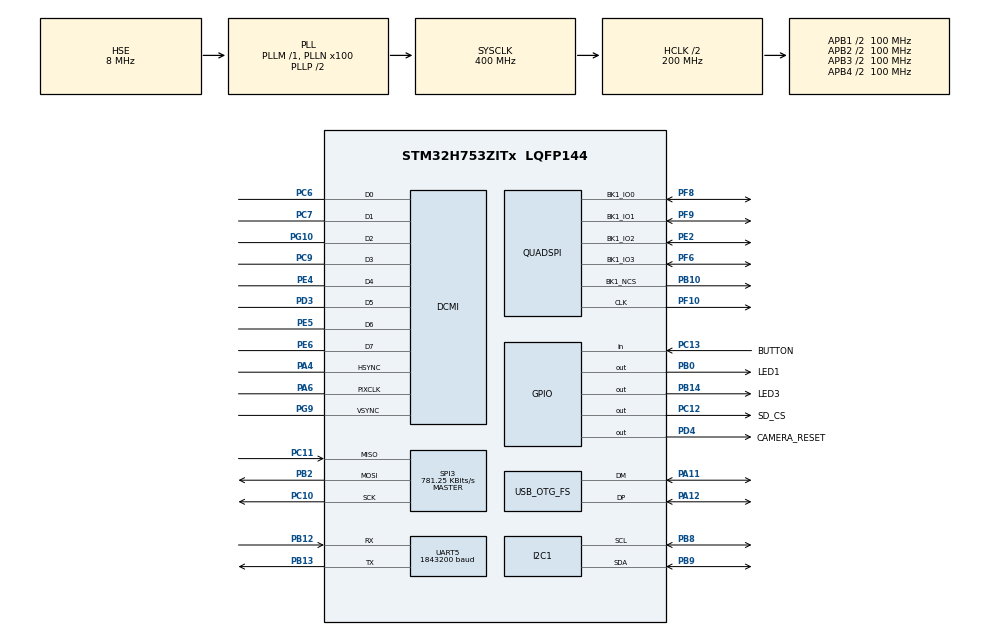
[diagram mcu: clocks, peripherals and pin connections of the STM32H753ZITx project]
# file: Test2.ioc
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CORTEX_M7.AccessPermission_Spec=MPU_REGION_FULL_ACCESS
CORTEX_M7.BaseAddress_Spec=0x90000000
CORTEX_M7.CPU_DCache=Enabled
CORTEX_M7.CPU_ICache=Enabled
CORTEX_M7.Enable_S-Cortex_Memory_Protection_Unit_Region4_Settings_S=__NULL
CORTEX_M7.Enable_Spec=__NULL
CORTEX_M7.MPU_Control=__NULL
CORTEX_M7.Size_Spec=MPU_REGION_SIZE_8MB
CORTEX_M7.SubRegionDisable_Spec=0
CORTEX_M7.default_mode_Activation=1
DCMI.HSPolarity=DCMI_HSPOLARITY_HIGH
DCMI.PCKPolarity=DCMI_PCKPOLARITY_RISING
DCMI.VSPolarity=DCMI_VSPOLARITY_HIGH
Dma.DCMI.0.Direction=DMA_PERIPH_TO_MEMORY
Dma.DCMI.0.EventEnable=DISABLE
Dma.DCMI.0.FIFOMode=DMA_FIFOMODE_ENABLE
Dma.DCMI.0.FIFOThreshold=DMA_FIFO_THRESHOLD_FULL
Dma.DCMI.0.Instance=DMA2_Stream1
Dma.DCMI.0.MemBurst=DMA_MBURST_INC4
Dma.DCMI.0.MemDataAlignment=DMA_MDATAALIGN_WORD
Dma.DCMI.0.MemInc=DMA_MINC_ENABLE
Dma.DCMI.0.Mode=DMA_CIRCULAR
Dma.DCMI.0.PeriphBurst=DMA_PBURST_SINGLE
Dma.DCMI.0.PeriphDataAlignment=DMA_PDATAALIGN_WORD
Dma.DCMI.0.PeriphInc=DMA_PINC_DISABLE
Dma.DCMI.0.Polarity=HAL_DMAMUX_REQ_GEN_RISING
Dma.DCMI.0.Priority=DMA_PRIORITY_VERY_HIGH
Dma.DCMI.0.RequestNumber=1
Dma.DCMI.0.SignalID=NONE
Dma.DCMI.0.SyncEnable=DISABLE
Dma.DCMI.0.SyncPolarity=HAL_DMAMUX_SYNC_NO_EVENT
Dma.DCMI.0.SyncRequestNumber=1
Dma.DCMI.0.SyncSignalID=NONE
Dma.MEMTOMEM.1.Direction=DMA_MEMORY_TO_MEMORY
Dma.MEMTOMEM.1.EventEnable=DISABLE
Dma.MEMTOMEM.1.FIFOMode=DMA_FIFOMODE_ENABLE
Dma.MEMTOMEM.1.FIFOThreshold=DMA_FIFO_THRESHOLD_FULL
Dma.MEMTOMEM.1.Instance=DMA1_Stream0
Dma.MEMTOMEM.1.MemBurst=DMA_MBURST_INC4
Dma.MEMTOMEM.1.MemDataAlignment=DMA_MDATAALIGN_WORD
Dma.MEMTOMEM.1.MemInc=DMA_MINC_ENABLE
Dma.MEMTOMEM.1.Mode=DMA_NORMAL
Dma.MEMTOMEM.1.PeriphBurst=DMA_PBURST_INC4
Dma.MEMTOMEM.1.PeriphDataAlignment=DMA_PDATAALIGN_WORD
Dma.MEMTOMEM.1.PeriphInc=DMA_PINC_ENABLE
Dma.MEMTOMEM.1.Polarity=HAL_DMAMUX_REQ_GEN_RISING
Dma.MEMTOMEM.1.Priority=DMA_PRIORITY_LOW
Dma.MEMTOMEM.1.RequestNumber=1
Dma.MEMTOMEM.1.SignalID=NONE
Dma.MEMTOMEM.1.SyncEnable=DISABLE
Dma.MEMTOMEM.1.SyncPolarity=HAL_DMAMUX_SYNC_NO_EVENT
Dma.MEMTOMEM.1.SyncRequestNumber=1
Dma.MEMTOMEM.1.SyncSignalID=NONE
Dma.Request0=DCMI
Dma.Request1=MEMTOMEM
FATFS._MAX_SS=512
FATFS._USE_LFN=0
FREERTOS.Tasks01=defaultTask,24,1024,StartDefaultTask,Default,NULL,Dynamic,NULL,NULL;cameraTask,32,1024,StartCameraTask,Default,NULL,Dynamic,NULL,NULL
FREERTOS.configENABLE_FPU=1
FREERTOS.configTOTAL_HEAP_SIZE=65536
FREERTOS.configUSE_NEWLIB_REENTRANT=1
I2C1.Timing=0x10C0ECFF
Mcu.Family=STM32H7
Mcu.Name=STM32H753ZITx
Mcu.Package=LQFP144
NVIC.DCMI_IRQn=true\:5\:0\:false\:false\:true\:true\:true\:true\:true
NVIC.DMA2_Stream1_IRQn=true\:5\:0\:false\:false\:true\:false\:false\:true\:true
NVIC.OTG_FS_IRQn=true\:5\:0\:false\:false\:true\:true\:false\:true\:true
NVIC.PriorityGroup=NVIC_PRIORITYGROUP_4
NVIC.TIM6_DAC_IRQn=true\:15\:0\:false\:false\:true\:false\:false\:true\:true
NVIC.TimeBase=TIM6_DAC_IRQn
NVIC.TimeBaseIP=TIM6
PA11.Mode=Device_Only
PA11.Signal=USB_OTG_FS_DM
PA12.Mode=Device_Only
PA12.Signal=USB_OTG_FS_DP
PA13\ (JTMS/SWDIO).Mode=Trace_Asynchronous_SW
PA13\ (JTMS/SWDIO).Signal=DEBUG_JTMS-SWDIO
PA14\ (JTCK/SWCLK).Mode=Trace_Asynchronous_SW
PA14\ (JTCK/SWCLK).Signal=DEBUG_JTCK-SWCLK
PA4.Mode=Slave_8_bits_External_Synchro
PA4.Signal=DCMI_HSYNC
PA6.Mode=Slave_8_bits_External_Synchro
PA6.Signal=DCMI_PIXCLK
PB0.GPIO_Label=LED1
PB0.Signal=GPIO_Output
PB10.Mode=Single Bank 1
PB10.Signal=QUADSPI_BK1_NCS
PB12.Mode=Asynchronous
PB12.Signal=UART5_RX
PB13.Mode=Asynchronous
PB13.Signal=UART5_TX
PB14.GPIO_Label=LED3
PB14.Signal=GPIO_Output
PB2.GPIO_Speed=GPIO_SPEED_FREQ_HIGH
PB2.Mode=Full_Duplex_Master
PB2.Signal=SPI3_MOSI
PB3\ (JTDO/TRACESWO).Mode=Trace_Asynchronous_SW
PB3\ (JTDO/TRACESWO).Signal=DEBUG_JTDO-SWO
PB8.Mode=I2C
PB8.Signal=I2C1_SCL
PB9.Mode=I2C
PB9.Signal=I2C1_SDA
PC10.GPIO_Speed=GPIO_SPEED_FREQ_HIGH
PC10.Mode=Full_Duplex_Master
PC10.Signal=SPI3_SCK
PC11.GPIO_PuPd=GPIO_NOPULL
PC11.GPIO_Speed=GPIO_SPEED_FREQ_HIGH
PC11.Mode=Full_Duplex_Master
PC11.Signal=SPI3_MISO
PC12.GPIO_Label=SD_CS
PC12.GPIO_Speed=GPIO_SPEED_FREQ_HIGH
PC12.PinState=GPIO_PIN_SET
PC12.Signal=GPIO_Output
PC13.GPIO_Label=BUTTON
PC13.Signal=GPIO_Input
PC14-OSC32_IN\ (OSC32_IN).Signal=RCC_OSC32_IN
PC15-OSC32_OUT\ (OSC32_OUT).Signal=RCC_OSC32_OUT
PC6.Mode=Slave_8_bits_External_Synchro
PC6.Signal=DCMI_D0
PC7.Mode=Slave_8_bits_External_Synchro
PC7.Signal=DCMI_D1
PC9.Mode=Slave_8_bits_External_Synchro
PC9.Signal=DCMI_D3
PD3.Mode=Slave_8_bits_External_Synchro
PD3.Signal=DCMI_D5
PD4.GPIO_Label=CAMERA_RESET
PD4.PinState=GPIO_PIN_SET
PD4.Signal=GPIO_Output
PD8.GPIO_Label=STLINK_RX
PD8.Signal=USART3_TX
PD9.GPIO_Label=STLINK_TX
PD9.Signal=USART3_RX
PE2.Mode=Single Bank 1
PE2.Signal=QUADSPI_BK1_IO2
PE4.Mode=Slave_8_bits_External_Synchro
PE4.Signal=DCMI_D4
PE5.Mode=Slave_8_bits_External_Synchro
PE5.Signal=DCMI_D6
PE6.Mode=Slave_8_bits_External_Synchro
PE6.Signal=DCMI_D7
PF10.Mode=Single Bank 1
PF10.Signal=QUADSPI_CLK
PF6.Mode=Single Bank 1
PF6.Signal=QUADSPI_BK1_IO3
PF8.Mode=Single Bank 1
PF8.Signal=QUADSPI_BK1_IO0
PF9.Mode=Single Bank 1
PF9.Signal=QUADSPI_BK1_IO1
PG10.Mode=Slave_8_bits_External_Synchro
PG10.Signal=DCMI_D2
PG9.Mode=Slave_8_bits_External_Synchro
PG9.Signal=DCMI_VSYNC
PH0-OSC_IN\ (PH0).Mode=HSE-External-Clock-Source
PH0-OSC_IN\ (PH0).Signal=RCC_OSC_IN
PH1-OSC_OUT\ (PH1).Signal=RCC_OSC_OUT
ProjectManager.HeapSize=0x200
ProjectManager.StackSize=0x400
ProjectManager.TargetToolchain=STM32CubeIDE
QUADSPI.ClockPrescaler=7
QUADSPI.FifoThreshold=16
QUADSPI.FlashSize=22
RCC.ADCFreq_Value=16125000
RCC.APB1Freq_Value=100000000
RCC.APB2Freq_Value=100000000
RCC.APB3Freq_Value=100000000
RCC.APB4Freq_Value=100000000
RCC.CortexFreq_Value=400000000
RCC.D1PPRE=RCC_APB3_DIV2
RCC.D2PPRE1=RCC_APB1_DIV2
RCC.D2PPRE2=RCC_APB2_DIV2
RCC.D3PPRE=RCC_APB4_DIV2
RCC.DIVM1=1
RCC.DIVN1=100
RCC.DIVQ1=4
RCC.HCLKFreq_Value=200000000
RCC.HPRE=RCC_HCLK_DIV2
RCC.HSE_VALUE=8000000
RCC.PLLFRACN=0
RCC.PLLSourceVirtual=RCC_PLLSOURCE_HSE
RCC.PWR_Regulator_Voltage_Scale=PWR_REGULATOR_VOLTAGE_SCALE0
RCC.QSPICLockSelection=RCC_QSPICLKSOURCE_PLL
RCC.SYSCLKFreq_VALUE=400000000
RCC.SYSCLKSource=RCC_SYSCLKSOURCE_PLLCLK
RCC.USBCLockSelection=RCC_USBCLKSOURCE_HSI48
RCC.USBFreq_Value=48000000
SPI3.BaudRatePrescaler=SPI_BAUDRATEPRESCALER_256
SPI3.CalculateBaudRate=781.25 KBits/s
SPI3.DataSize=SPI_DATASIZE_8BIT
SPI3.Direction=SPI_DIRECTION_2LINES
SPI3.MasterKeepIOState=SPI_MASTER_KEEP_IO_STATE_ENABLE
SPI3.Mode=SPI_MODE_MASTER
SPI3.VirtualType=VM_MASTER
UART5.BaudRate=1843200
USB_DEVICE.CLASS_NAME_FS=CDC
USB_DEVICE.VirtualMode-CDC_FS=Cdc
USB_DEVICE.VirtualModeFS=Cdc_FS
USB_OTG_FS.VirtualMode=Device_Only
VP_FATFS_VS_Generic.Mode=User_defined
VP_FREERTOS_VS_CMSIS_V2.Mode=CMSIS_V2
VP_MEMORYMAP_VS_MEMORYMAP.Mode=CurAppReg
VP_RNG_VS_RNG.Mode=RNG_Activate
VP_SYS_VS_tim6.Mode=TIM6
VP_USB_DEVICE_VS_USB_DEVICE_CDC_FS.Mode=CDC_FS
board=NUCLEO-H753ZI

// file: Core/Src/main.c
/* USER CODE BEGIN Header */
/**
  ******************************************************************************
  * @file           : main.c
  * @brief          : Main program body
  ******************************************************************************
  * @attention
  *
  * Copyright (c) 2026 STMicroelectronics.
  * All rights reserved.
  *
  * This software is licensed under terms that can be found in the LICENSE file
  * in the root directory of this software component.
  * If no LICENSE file comes with this software, it is provided AS-IS.
  *
  ******************************************************************************
  */
/* USER CODE END Header */
#include "main.h"
#include "cmsis_os.h"
#include "fatfs.h"
#include "usb_device.h"

/* USER CODE BEGIN Includes */

#include <stdio.h>

#include "stm32h7xx_hal_qspi.h"

#include "ov5640.h"
#include "ov5640_io.h"
#include "usb_io.h"
#include "sd_spi.h"

/* USER CODE END Includes */

/* USER CODE BEGIN PD */

// _write redefinition for printf()
int _write(int file, char *ptr, int len)
{
    for (int i = 0; i < len; i++)
    {
        ITM_SendChar((*ptr++));
    }
    return len;
}

/* USER CODE END PD */

DCMI_HandleTypeDef hdcmi;
DMA_HandleTypeDef hdma_dcmi;

I2C_HandleTypeDef hi2c1;

QSPI_HandleTypeDef hqspi;

RNG_HandleTypeDef hrng;

SPI_HandleTypeDef hspi3;

UART_HandleTypeDef huart5;

DMA_HandleTypeDef hdma_memtomem_dma1_stream0;
/* Definitions for defaultTask */
osThreadId_t defaultTaskHandle;
const osThreadAttr_t defaultTask_attributes = {
  .name = "defaultTask",
  .stack_size = 1024 * 4,
  .priority = (osPriority_t) osPriorityNormal,
};
/* Definitions for cameraTask */
osThreadId_t cameraTaskHandle;
const osThreadAttr_t cameraTask_attributes = {
  .name = "cameraTask",
  .stack_size = 1024 * 4,
  .priority = (osPriority_t) osPriorityAboveNormal,
};
/* USER CODE BEGIN PV */

//OV5640_Object_t camera;

/* USER CODE END PV */

void SystemClock_Config(void);
static void MX_GPIO_Init(void);
static void MX_DMA_Init(void);
static void MX_DCMI_Init(void);
static void MX_I2C1_Init(void);
static void MX_RNG_Init(void);
static void MX_QUADSPI_Init(void);
static void MX_UART5_Init(void);
static void MX_SPI3_Init(void);
void StartDefaultTask(void *argument);
void StartCameraTask(void *argument);

/* USER CODE BEGIN PFP */

static int32_t I2C_Init(void){return 0;}
static int32_t I2C_DeInit(void){return 0;}

/* USER CODE END PFP */

/* USER CODE BEGIN 0 */

//#define WIDTH  160
//#define HEIGHT 120

//define WIDTH  800
//#define HEIGHT 480

#define WIDTH  640
#define HEIGHT 480

//#define CSIZE  2 // RGB565
#define CSIZE  1 // Y8

#define FRAME_BYTES (WIDTH * HEIGHT * CSIZE)
#define FRAME_WORDS (FRAME_BYTES / 4)

__attribute__((section(".RAM_D1"), aligned(32)))
uint8_t frame_buffer[FRAME_BYTES];

//__attribute__((section(".qspi_ram")))
//volatile uint8_t qspi_buffer[8192];

volatile uint32_t dbg_tick_before;
volatile uint32_t dbg_tick_after;
volatile uint32_t dbg_primask;
volatile uint32_t dbg_basepri;
volatile uint32_t dbg_ipsr;
volatile FRESULT dbg_sd_res;

extern FATFS SDFatFS;
extern char SDPath[4];

//DCMI frame callback
void HAL_DCMI_FrameEventCallback(DCMI_HandleTypeDef *hdcmi)
{
	__NOP();

	// Suspend DCMI
	HAL_DCMI_Suspend(hdcmi);

    BaseType_t xHigherPriorityTaskWoken = pdFALSE;

    // Sends a direct-to-task notification to cameraTaskHandle
    vTaskNotifyGiveFromISR(cameraTaskHandle, &xHigherPriorityTaskWoken);
    portYIELD_FROM_ISR(xHigherPriorityTaskWoken);
}

// PSRAM_EnableQuadMode
HAL_StatusTypeDef PSRAM_EnableQuadMode()
{
	QSPI_CommandTypeDef cmd = {0};

	cmd.InstructionMode = QSPI_INSTRUCTION_1_LINE;
	cmd.Instruction     = 0x35; // Enter Quad mode
	cmd.AddressMode     = QSPI_ADDRESS_NONE;
	cmd.DataMode        = QSPI_DATA_NONE;
	cmd.DummyCycles     = 0;

	if (HAL_QSPI_Command(&hqspi, &cmd, HAL_QSPI_TIMEOUT_DEFAULT_VALUE) != HAL_OK)
	{
		return HAL_ERROR;
	}

    return HAL_OK;
}

// PSRAM_Write
HAL_StatusTypeDef PSRAM_Write(uint32_t addr, uint8_t *data, uint32_t size)
{
    QSPI_CommandTypeDef cmd = {0};

    cmd.InstructionMode = QSPI_INSTRUCTION_4_LINES;
    cmd.AddressMode     = QSPI_ADDRESS_4_LINES;
    cmd.DataMode        = QSPI_DATA_4_LINES;

    cmd.AddressSize     = QSPI_ADDRESS_24_BITS;
    cmd.Instruction     = 0x02;  // QUAD WRITE (APS6404L)
    cmd.Address         = addr;
    cmd.NbData          = size;

    cmd.DummyCycles     = 0;

    if (HAL_QSPI_Command(&hqspi, &cmd, HAL_QSPI_TIMEOUT_DEFAULT_VALUE) != HAL_OK)
    	return HAL_ERROR;

    if (HAL_QSPI_Transmit(&hqspi, data, HAL_QSPI_TIMEOUT_DEFAULT_VALUE) != HAL_OK)
    	return HAL_ERROR;

    return HAL_OK;
}

// PSRAM_Read
HAL_StatusTypeDef PSRAM_Read(uint32_t addr, uint8_t *data, uint32_t size)
{
    QSPI_CommandTypeDef cmd = {0};

    cmd.InstructionMode = QSPI_INSTRUCTION_4_LINES;
    cmd.AddressMode     = QSPI_ADDRESS_4_LINES;
    cmd.DataMode        = QSPI_DATA_4_LINES;

    cmd.AddressSize     = QSPI_ADDRESS_24_BITS;
    cmd.Instruction     = 0x0B;  // QUAD READ (APS6404L)
    cmd.Address         = addr;
    cmd.NbData          = size;

    cmd.DummyCycles     = 4;

    if (HAL_QSPI_Command(&hqspi, &cmd, HAL_QSPI_TIMEOUT_DEFAULT_VALUE) != HAL_OK)
    	return HAL_ERROR;

    if (HAL_QSPI_Receive(&hqspi, data, HAL_QSPI_TIMEOUT_DEFAULT_VALUE) != HAL_OK)
    	return HAL_ERROR;

    return HAL_OK;
}

#define NUM_BARS 16

// FillGrayRamp_Y8
void FillGrayRamp_Y8(uint8_t *buf, uint32_t width, uint32_t height)
{
    for (uint32_t y = 0; y < height; y++)
    {
        for (uint32_t x = 0; x < width; x++)
        {
            uint8_t gray = (uint8_t)((x * 255) / (width - 1));
            buf[y * width + x] = gray;
        }
    }
}

// SD_TestWrite
static void SD_TestWrite(void)
{
    FRESULT res;
    FIL file;
    UINT written;

    const char text[] = "STM32H753 SPI SD test\r\n";

    res = f_mount(&USERFatFS, USERPath, 1);
    if (res != FR_OK)
    {
    	SD_SPI_ReleaseBus();
        Error_Handler();
    }

    res = f_open(&file, "test.txt", FA_CREATE_ALWAYS | FA_WRITE);
    if (res != FR_OK)
    {
    	SD_SPI_ReleaseBus();
    	SD_SPI_ReleaseBus();
        Error_Handler();
    }

    res = f_write(&file, text, strlen(text), &written);
    if ((res != FR_OK) || (written != strlen(text)))
    {
        f_close(&file);
        SD_SPI_ReleaseBus();
        Error_Handler();
    }

    f_close(&file);

    SD_SPI_ReleaseBus();
}

/* USER CODE END 0 */

int main(void)
{

  /* Enable the CPU Cache */

  /* Enable I-Cache---------------------------------------------------------*/
  SCB_EnableICache();

  /* Enable D-Cache---------------------------------------------------------*/
  SCB_EnableDCache();

  /* MCU Configuration--------------------------------------------------------*/

  /* Reset of all peripherals, Initializes the Flash interface and the Systick. */
  HAL_Init();

  /* Configure the system clock */
  SystemClock_Config();

  /* Initialize all configured peripherals */
  MX_GPIO_Init();
  MX_DMA_Init();
  MX_DCMI_Init();
  MX_I2C1_Init();
  MX_RNG_Init();
  MX_FATFS_Init();
  MX_QUADSPI_Init();
  MX_UART5_Init();
  MX_SPI3_Init();
  /* USER CODE BEGIN 2 */

 SD_TestWrite();

  dbg_basepri = __get_BASEPRI();   // should show 0x50 now

  __set_BASEPRI(0);                // temporary recovery test

  dbg_basepri = __get_BASEPRI();   // should become 0

  HAL_Delay(100);

  dbg_tick_after = HAL_GetTick();

  // Enable Quad SPI mode
  if(PSRAM_EnableQuadMode(&hqspi) != OV5640_OK)
  {
	  Error_Handler();
  }

  OV5640_Object_t camera;
  OV5640_IO_t io_ctx;

  // Initialize camera object
  camera.IsInitialized	= 0U;
  camera.Mode			= PARALLEL_MODE;

  // Bind io_ctx
  io_ctx.Init	  = I2C_Init;
  io_ctx.DeInit	  = I2C_DeInit;
  io_ctx.Address  = 0x3C;
  io_ctx.ReadReg  = OV5640_IO_ReadReg;
  io_ctx.WriteReg = OV5640_IO_WriteReg;
  io_ctx.GetTick  = (long int (*)(void))HAL_GetTick;

  // Reset Camera
  HAL_GPIO_WritePin(GPIOD, CAMERA_RESET_Pin, GPIO_PIN_RESET);
  HAL_Delay(100);
  HAL_GPIO_WritePin(GPIOD, CAMERA_RESET_Pin, GPIO_PIN_SET);
  HAL_Delay(100);

  // Register Camera IO
  OV5640_RegisterBusIO(&camera, &io_ctx);

  // Check camera ID
  uint32_t id;
  OV5640_ReadID(&camera, &id);

  // Init camera device (Y8 Data Format)
  if (id == OV5640_ID)
  {
	  //if(OV5640_Init(&camera, OV5640_R160x120, OV5640_Y8) != OV5640_OK)
	  //if(OV5640_Init(&camera, OV5640_R480x272, OV5640_RGB565) != OV5640_OK)
	  //if(OV5640_Init(&camera, OV5640_R480x272, OV5640_RGB565) != OV5640_OK)
	  if(OV5640_Init(&camera, OV5640_R640x480, OV5640_Y8) != OV5640_OK)
	  {
		  // something is wrong (I2C, wiring, clock)
		  HAL_GPIO_WritePin(GPIOB, LED3_Pin, GPIO_PIN_SET);
		  for (;;);
	  }
  }
  else
  {
      // something is wrong (I2C, wiring, clock)
	  HAL_GPIO_WritePin(GPIOB, LED3_Pin, GPIO_PIN_SET);
	  for (;;);
  }

  // Enable colorbar mode
  //OV5640_ColorbarModeConfig(&camera, COLORBAR_MODE_ENABLE);

  // Disable ACG
  //uint8_t tmp = 0x03;
  //ov5640_write_reg(&camera.Ctx, OV5640_AEC_PK_MANUAL, &tmp, 1);

  /* Wait 1s to let auto-loops in the camera module converge and lead to correct exposure */
  HAL_Delay(1000);

  // Start camera
  OV5640_Start(&camera);

  // Start DMA continuous mode
  if(HAL_DCMI_Start_DMA(&hdcmi, DCMI_MODE_CONTINUOUS, (uint32_t)frame_buffer, FRAME_WORDS) != HAL_OK)
  {
	  Error_Handler();
  }

  // Enable ITM stimulus port 0
  CoreDebug->DEMCR |= CoreDebug_DEMCR_TRCENA_Msk;
  ITM->TCR |= ITM_TCR_ITMENA_Msk;
  ITM->TER |= (1 << 0);

  /* USER CODE END 2 */

  /* Init scheduler */
  osKernelInitialize();

  /* Create the thread(s) */
  /* creation of defaultTask */
  defaultTaskHandle = osThreadNew(StartDefaultTask, NULL, &defaultTask_attributes);

  /* creation of cameraTask */
  cameraTaskHandle = osThreadNew(StartCameraTask, NULL, &cameraTask_attributes);

  /* Start scheduler */
  osKernelStart();

  /* We should never get here as control is now taken by the scheduler */

  /* Infinite loop */
  while (1)
  {

  }
}

void SystemClock_Config(void)
{
  RCC_OscInitTypeDef RCC_OscInitStruct = {0};
  RCC_ClkInitTypeDef RCC_ClkInitStruct = {0};

  /** Supply configuration update enable
  */
  HAL_PWREx_ConfigSupply(PWR_LDO_SUPPLY);

  /** Configure the main internal regulator output voltage
  */
  __HAL_PWR_VOLTAGESCALING_CONFIG(PWR_REGULATOR_VOLTAGE_SCALE0);

  while(!__HAL_PWR_GET_FLAG(PWR_FLAG_VOSRDY)) {}

  /** Initializes the RCC Oscillators according to the specified parameters
  * in the RCC_OscInitTypeDef structure.
  */
  RCC_OscInitStruct.OscillatorType = RCC_OSCILLATORTYPE_HSI48|RCC_OSCILLATORTYPE_HSE;
  RCC_OscInitStruct.HSEState = RCC_HSE_BYPASS;
  RCC_OscInitStruct.HSI48State = RCC_HSI48_ON;
  RCC_OscInitStruct.PLL.PLLState = RCC_PLL_ON;
  RCC_OscInitStruct.PLL.PLLSource = RCC_PLLSOURCE_HSE;
  RCC_OscInitStruct.PLL.PLLM = 1;
  RCC_OscInitStruct.PLL.PLLN = 100;
  RCC_OscInitStruct.PLL.PLLP = 2;
  RCC_OscInitStruct.PLL.PLLQ = 4;
  RCC_OscInitStruct.PLL.PLLR = 2;
  RCC_OscInitStruct.PLL.PLLRGE = RCC_PLL1VCIRANGE_3;
  RCC_OscInitStruct.PLL.PLLVCOSEL = RCC_PLL1VCOWIDE;
  RCC_OscInitStruct.PLL.PLLFRACN = 0;
  if (HAL_RCC_OscConfig(&RCC_OscInitStruct) != HAL_OK)
  {
    Error_Handler();
  }

  /** Initializes the CPU, AHB and APB buses clocks
  */
  RCC_ClkInitStruct.ClockType = RCC_CLOCKTYPE_HCLK|RCC_CLOCKTYPE_SYSCLK
                              |RCC_CLOCKTYPE_PCLK1|RCC_CLOCKTYPE_PCLK2
                              |RCC_CLOCKTYPE_D3PCLK1|RCC_CLOCKTYPE_D1PCLK1;
  RCC_ClkInitStruct.SYSCLKSource = RCC_SYSCLKSOURCE_PLLCLK;
  RCC_ClkInitStruct.SYSCLKDivider = RCC_SYSCLK_DIV1;
  RCC_ClkInitStruct.AHBCLKDivider = RCC_HCLK_DIV2;
  RCC_ClkInitStruct.APB3CLKDivider = RCC_APB3_DIV2;
  RCC_ClkInitStruct.APB1CLKDivider = RCC_APB1_DIV2;
  RCC_ClkInitStruct.APB2CLKDivider = RCC_APB2_DIV2;
  RCC_ClkInitStruct.APB4CLKDivider = RCC_APB4_DIV2;

  if (HAL_RCC_ClockConfig(&RCC_ClkInitStruct, FLASH_LATENCY_2) != HAL_OK)
  {
    Error_Handler();
  }
}

static void MX_DCMI_Init(void)
{

  hdcmi.Instance = DCMI;
  hdcmi.Init.SynchroMode = DCMI_SYNCHRO_HARDWARE;
  hdcmi.Init.PCKPolarity = DCMI_PCKPOLARITY_RISING;
  hdcmi.Init.VSPolarity = DCMI_VSPOLARITY_HIGH;
  hdcmi.Init.HSPolarity = DCMI_HSPOLARITY_HIGH;
  hdcmi.Init.CaptureRate = DCMI_CR_ALL_FRAME;
  hdcmi.Init.ExtendedDataMode = DCMI_EXTEND_DATA_8B;
  hdcmi.Init.JPEGMode = DCMI_JPEG_DISABLE;
  hdcmi.Init.ByteSelectMode = DCMI_BSM_ALL;
  hdcmi.Init.ByteSelectStart = DCMI_OEBS_ODD;
  hdcmi.Init.LineSelectMode = DCMI_LSM_ALL;
  hdcmi.Init.LineSelectStart = DCMI_OELS_ODD;
  if (HAL_DCMI_Init(&hdcmi) != HAL_OK)
  {
    Error_Handler();
  }

}

static void MX_I2C1_Init(void)
{

  hi2c1.Instance = I2C1;
  hi2c1.Init.Timing = 0x10C0ECFF;
  hi2c1.Init.OwnAddress1 = 0;
  hi2c1.Init.AddressingMode = I2C_ADDRESSINGMODE_7BIT;
  hi2c1.Init.DualAddressMode = I2C_DUALADDRESS_DISABLE;
  hi2c1.Init.OwnAddress2 = 0;
  hi2c1.Init.OwnAddress2Masks = I2C_OA2_NOMASK;
  hi2c1.Init.GeneralCallMode = I2C_GENERALCALL_DISABLE;
  hi2c1.Init.NoStretchMode = I2C_NOSTRETCH_DISABLE;
  if (HAL_I2C_Init(&hi2c1) != HAL_OK)
  {
    Error_Handler();
  }

  /** Configure Analogue filter
  */
  if (HAL_I2CEx_ConfigAnalogFilter(&hi2c1, I2C_ANALOGFILTER_ENABLE) != HAL_OK)
  {
    Error_Handler();
  }

  /** Configure Digital filter
  */
  if (HAL_I2CEx_ConfigDigitalFilter(&hi2c1, 0) != HAL_OK)
  {
    Error_Handler();
  }

}

static void MX_QUADSPI_Init(void)
{

  /* QUADSPI parameter configuration*/
  hqspi.Instance = QUADSPI;
  hqspi.Init.ClockPrescaler = 7;
  hqspi.Init.FifoThreshold = 16;
  hqspi.Init.SampleShifting = QSPI_SAMPLE_SHIFTING_NONE;
  hqspi.Init.FlashSize = 22;
  hqspi.Init.ChipSelectHighTime = QSPI_CS_HIGH_TIME_1_CYCLE;
  hqspi.Init.ClockMode = QSPI_CLOCK_MODE_0;
  hqspi.Init.FlashID = QSPI_FLASH_ID_1;
  hqspi.Init.DualFlash = QSPI_DUALFLASH_DISABLE;
  if (HAL_QSPI_Init(&hqspi) != HAL_OK)
  {
    Error_Handler();
  }

}

static void MX_RNG_Init(void)
{

  hrng.Instance = RNG;
  hrng.Init.ClockErrorDetection = RNG_CED_ENABLE;
  if (HAL_RNG_Init(&hrng) != HAL_OK)
  {
    Error_Handler();
  }

}

static void MX_SPI3_Init(void)
{

  /* SPI3 parameter configuration*/
  hspi3.Instance = SPI3;
  hspi3.Init.Mode = SPI_MODE_MASTER;
  hspi3.Init.Direction = SPI_DIRECTION_2LINES;
  hspi3.Init.DataSize = SPI_DATASIZE_8BIT;
  hspi3.Init.CLKPolarity = SPI_POLARITY_LOW;
  hspi3.Init.CLKPhase = SPI_PHASE_1EDGE;
  hspi3.Init.NSS = SPI_NSS_SOFT;
  hspi3.Init.BaudRatePrescaler = SPI_BAUDRATEPRESCALER_256;
  hspi3.Init.FirstBit = SPI_FIRSTBIT_MSB;
  hspi3.Init.TIMode = SPI_TIMODE_DISABLE;
  hspi3.Init.CRCCalculation = SPI_CRCCALCULATION_DISABLE;
  hspi3.Init.CRCPolynomial = 0x0;
  hspi3.Init.NSSPMode = SPI_NSS_PULSE_ENABLE;
  hspi3.Init.NSSPolarity = SPI_NSS_POLARITY_LOW;
  hspi3.Init.FifoThreshold = SPI_FIFO_THRESHOLD_01DATA;
  hspi3.Init.TxCRCInitializationPattern = SPI_CRC_INITIALIZATION_ALL_ZERO_PATTERN;
  hspi3.Init.RxCRCInitializationPattern = SPI_CRC_INITIALIZATION_ALL_ZERO_PATTERN;
  hspi3.Init.MasterSSIdleness = SPI_MASTER_SS_IDLENESS_00CYCLE;
  hspi3.Init.MasterInterDataIdleness = SPI_MASTER_INTERDATA_IDLENESS_00CYCLE;
  hspi3.Init.MasterReceiverAutoSusp = SPI_MASTER_RX_AUTOSUSP_DISABLE;
  hspi3.Init.MasterKeepIOState = SPI_MASTER_KEEP_IO_STATE_ENABLE;
  hspi3.Init.IOSwap = SPI_IO_SWAP_DISABLE;
  if (HAL_SPI_Init(&hspi3) != HAL_OK)
  {
    Error_Handler();
  }

}

static void MX_UART5_Init(void)
{

  huart5.Instance = UART5;
  huart5.Init.BaudRate = 1843200;
  huart5.Init.WordLength = UART_WORDLENGTH_8B;
  huart5.Init.StopBits = UART_STOPBITS_1;
  huart5.Init.Parity = UART_PARITY_NONE;
  huart5.Init.Mode = UART_MODE_TX_RX;
  huart5.Init.HwFlowCtl = UART_HWCONTROL_NONE;
  huart5.Init.OverSampling = UART_OVERSAMPLING_16;
  huart5.Init.OneBitSampling = UART_ONE_BIT_SAMPLE_DISABLE;
  huart5.Init.ClockPrescaler = UART_PRESCALER_DIV1;
  huart5.AdvancedInit.AdvFeatureInit = UART_ADVFEATURE_NO_INIT;
  if (HAL_UART_Init(&huart5) != HAL_OK)
  {
    Error_Handler();
  }
  if (HAL_UARTEx_SetTxFifoThreshold(&huart5, UART_TXFIFO_THRESHOLD_1_8) != HAL_OK)
  {
    Error_Handler();
  }
  if (HAL_UARTEx_SetRxFifoThreshold(&huart5, UART_RXFIFO_THRESHOLD_1_8) != HAL_OK)
  {
    Error_Handler();
  }
  if (HAL_UARTEx_DisableFifoMode(&huart5) != HAL_OK)
  {
    Error_Handler();
  }

}

static void MX_DMA_Init(void)
{

  /* DMA controller clock enable */
  __HAL_RCC_DMA2_CLK_ENABLE();
  __HAL_RCC_DMA1_CLK_ENABLE();

  /* Configure DMA request hdma_memtomem_dma1_stream0 on DMA1_Stream0 */
  hdma_memtomem_dma1_stream0.Instance = DMA1_Stream0;
  hdma_memtomem_dma1_stream0.Init.Request = DMA_REQUEST_MEM2MEM;
  hdma_memtomem_dma1_stream0.Init.Direction = DMA_MEMORY_TO_MEMORY;
  hdma_memtomem_dma1_stream0.Init.PeriphInc = DMA_PINC_ENABLE;
  hdma_memtomem_dma1_stream0.Init.MemInc = DMA_MINC_ENABLE;
  hdma_memtomem_dma1_stream0.Init.PeriphDataAlignment = DMA_PDATAALIGN_WORD;
  hdma_memtomem_dma1_stream0.Init.MemDataAlignment = DMA_MDATAALIGN_WORD;
  hdma_memtomem_dma1_stream0.Init.Mode = DMA_NORMAL;
  hdma_memtomem_dma1_stream0.Init.Priority = DMA_PRIORITY_LOW;
  hdma_memtomem_dma1_stream0.Init.FIFOMode = DMA_FIFOMODE_ENABLE;
  hdma_memtomem_dma1_stream0.Init.FIFOThreshold = DMA_FIFO_THRESHOLD_FULL;
  hdma_memtomem_dma1_stream0.Init.MemBurst = DMA_MBURST_INC4;
  hdma_memtomem_dma1_stream0.Init.PeriphBurst = DMA_PBURST_INC4;
  if (HAL_DMA_Init(&hdma_memtomem_dma1_stream0) != HAL_OK)
  {
    Error_Handler( );
  }

  /* DMA interrupt init */
  /* DMA2_Stream1_IRQn interrupt configuration */
  HAL_NVIC_SetPriority(DMA2_Stream1_IRQn, 5, 0);
  HAL_NVIC_EnableIRQ(DMA2_Stream1_IRQn);

}

static void MX_GPIO_Init(void)
{
  GPIO_InitTypeDef GPIO_InitStruct = {0};

  /* GPIO Ports Clock Enable */
  __HAL_RCC_GPIOE_CLK_ENABLE();
  __HAL_RCC_GPIOC_CLK_ENABLE();
  __HAL_RCC_GPIOF_CLK_ENABLE();
  __HAL_RCC_GPIOH_CLK_ENABLE();
  __HAL_RCC_GPIOA_CLK_ENABLE();
  __HAL_RCC_GPIOB_CLK_ENABLE();
  __HAL_RCC_GPIOD_CLK_ENABLE();
  __HAL_RCC_GPIOG_CLK_ENABLE();

  /*Configure GPIO pin Output Level */
  HAL_GPIO_WritePin(GPIOB, LED1_Pin|LED3_Pin, GPIO_PIN_RESET);

  /*Configure GPIO pin Output Level */
  HAL_GPIO_WritePin(SD_CS_GPIO_Port, SD_CS_Pin, GPIO_PIN_SET);

  /*Configure GPIO pin Output Level */
  HAL_GPIO_WritePin(CAMERA_RESET_GPIO_Port, CAMERA_RESET_Pin, GPIO_PIN_SET);

  /*Configure GPIO pin : BUTTON_Pin */
  GPIO_InitStruct.Pin = BUTTON_Pin;
  GPIO_InitStruct.Mode = GPIO_MODE_INPUT;
  GPIO_InitStruct.Pull = GPIO_NOPULL;
  HAL_GPIO_Init(BUTTON_GPIO_Port, &GPIO_InitStruct);

  /*Configure GPIO pins : LED1_Pin LED3_Pin */
  GPIO_InitStruct.Pin = LED1_Pin|LED3_Pin;
  GPIO_InitStruct.Mode = GPIO_MODE_OUTPUT_PP;
  GPIO_InitStruct.Pull = GPIO_NOPULL;
  GPIO_InitStruct.Speed = GPIO_SPEED_FREQ_LOW;
  HAL_GPIO_Init(GPIOB, &GPIO_InitStruct);

  /*Configure GPIO pins : STLINK_RX_Pin STLINK_TX_Pin */
  GPIO_InitStruct.Pin = STLINK_RX_Pin|STLINK_TX_Pin;
  GPIO_InitStruct.Mode = GPIO_MODE_AF_PP;
  GPIO_InitStruct.Pull = GPIO_NOPULL;
  GPIO_InitStruct.Speed = GPIO_SPEED_FREQ_LOW;
  GPIO_InitStruct.Alternate = GPIO_AF7_USART3;
  HAL_GPIO_Init(GPIOD, &GPIO_InitStruct);

  /*Configure GPIO pin : SD_CS_Pin */
  GPIO_InitStruct.Pin = SD_CS_Pin;
  GPIO_InitStruct.Mode = GPIO_MODE_OUTPUT_PP;
  GPIO_InitStruct.Pull = GPIO_NOPULL;
  GPIO_InitStruct.Speed = GPIO_SPEED_FREQ_HIGH;
  HAL_GPIO_Init(SD_CS_GPIO_Port, &GPIO_InitStruct);

  /*Configure GPIO pin : CAMERA_RESET_Pin */
  GPIO_InitStruct.Pin = CAMERA_RESET_Pin;
  GPIO_InitStruct.Mode = GPIO_MODE_OUTPUT_PP;
  GPIO_InitStruct.Pull = GPIO_NOPULL;
  GPIO_InitStruct.Speed = GPIO_SPEED_FREQ_LOW;
  HAL_GPIO_Init(CAMERA_RESET_GPIO_Port, &GPIO_InitStruct);

}

void StartDefaultTask(void *argument)
{
  /* init code for USB_DEVICE */
  MX_USB_DEVICE_Init();
  for(;;)
  {
    osDelay(1);
  }
}

void StartCameraTask(void *argument)
{
  /* USER CODE BEGIN StartCameraTask */

	/* Infinite loop */
	for (;;)
	{
		// Waits a direct-to-task notification to cameraTaskHandle
		ulTaskNotifyTake(pdTRUE, portMAX_DELAY);

//		// Suspend DCMI
//		HAL_DCMI_Suspend(&hdcmi);
//
//    	// Invalidate the cache
//    	SCB_InvalidateDCache_by_Addr((uint32_t*)frame_buffer, FRAME_BYTES);

		// Signal processing
	    HAL_GPIO_TogglePin(GPIOB, LED1_Pin);

		/* Transmit image via UART with 100 ms timeout */
	    //for(int i=0;i<FRAME_BYTES;i++)
	    //	HAL_UART_Transmit(&huart5, &(frame_buffer[i]), 1, 100);
		//  CDC_Transmit_FS((uint8_t *)(frame_buffer[i]), 1);

	    /* Transmit image via USB Vitual COM  */
	    if (hUsbDeviceFS.dev_state == USBD_STATE_CONFIGURED)
	    {
	    	// Invalidate the cache
	    	SCB_InvalidateDCache_by_Addr((uint32_t*)frame_buffer, FRAME_BYTES);

            /*
             * Synthetic image test.
             * Do not use camera data.
             */
	    	//FillGrayRamp_Y8((uint8_t *)frame_buffer, WIDTH, HEIGHT);
            // Or:
            // FillGrayRamp_Y8((uint8_t *)frame_buffer, WIDTH, HEIGHT);

            /*
             * Since CPU wrote the buffer, clean cache.
             * Do NOT invalidate here.
             */
            //SCB_CleanDCache_by_Addr((uint32_t *)frame_buffer, FRAME_BYTES);

			//PSRAM_Write(0,frame_buffer,FRAME_BYTES);
			//PSRAM_Read(0,frame_buffer,FRAME_BYTES);

	    	USB_SendFrame((uint8_t *)frame_buffer, FRAME_BYTES);
	    	//USB_SendBuffer((uint8_t *)frame_buffer, FRAME_BYTES);
	    }
        else
        {
    		// Resume DCMI
            HAL_DCMI_Resume(&hdcmi);
        }

		osDelay(1);
	}
  /* USER CODE END StartCameraTask */
}

void HAL_TIM_PeriodElapsedCallback(TIM_HandleTypeDef *htim)
{
  if (htim->Instance == TIM6)
  {
    HAL_IncTick();
  }
}

void Error_Handler(void)
{
  __disable_irq();
  while (1)
  {
  }
}
